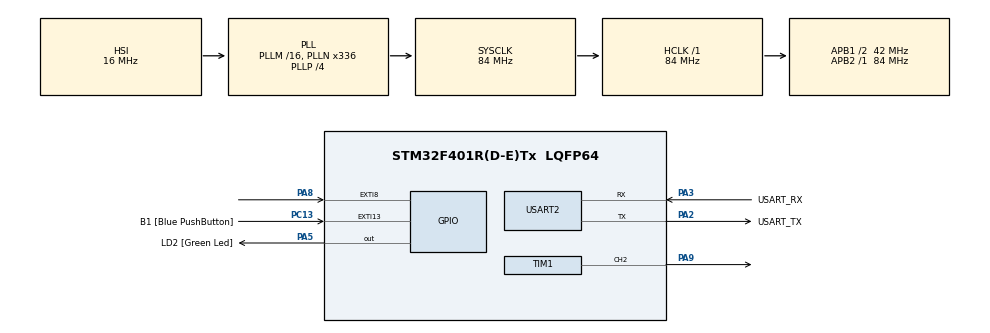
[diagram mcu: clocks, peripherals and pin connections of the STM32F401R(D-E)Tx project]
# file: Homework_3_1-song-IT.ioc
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Mcu.Family=STM32F4
Mcu.Name=STM32F401R(D-E)Tx
Mcu.Package=LQFP64
NVIC.EXTI9_5_IRQn=true\:0\:0\:false\:false\:true\:true\:true\:true
NVIC.PriorityGroup=NVIC_PRIORITYGROUP_1
PA13.GPIO_Label=TMS
PA13.Mode=Serial_Wire
PA13.Signal=SYS_JTMS-SWDIO
PA14.GPIO_Label=TCK
PA14.Mode=Serial_Wire
PA14.Signal=SYS_JTCK-SWCLK
PA2.GPIO_Label=USART_TX
PA2.GPIO_Mode=GPIO_MODE_AF_PP
PA2.GPIO_PuPd=GPIO_NOPULL
PA2.GPIO_Speed=GPIO_SPEED_FREQ_LOW
PA2.Mode=Asynchronous
PA2.Signal=USART2_TX
PA3.GPIO_Label=USART_RX
PA3.GPIO_Mode=GPIO_MODE_AF_PP
PA3.GPIO_PuPd=GPIO_NOPULL
PA3.GPIO_Speed=GPIO_SPEED_FREQ_LOW
PA3.Mode=Asynchronous
PA3.Signal=USART2_RX
PA5.GPIO_Label=LD2 [Green Led]
PA5.GPIO_Mode=GPIO_MODE_OUTPUT_PP
PA5.GPIO_PuPd=GPIO_NOPULL
PA5.GPIO_Speed=GPIO_SPEED_FREQ_LOW
PA5.Signal=GPIO_Output
PA8.GPIO_ModeDefaultEXTI=GPIO_MODE_IT_RISING_FALLING
PA8.Signal=GPXTI8
PA9.Signal=S_TIM1_CH2
PB3.GPIO_Label=SWO
PB3.Signal=SYS_JTDO-SWO
PC13-ANTI_TAMP.GPIO_Label=B1 [Blue PushButton]
PC13-ANTI_TAMP.GPIO_ModeDefaultEXTI=GPIO_MODE_IT_FALLING
PC13-ANTI_TAMP.GPIO_PuPd=GPIO_NOPULL
PC13-ANTI_TAMP.Signal=GPXTI13
PC14-OSC32_IN.Mode=LSE-External-Oscillator
PC14-OSC32_IN.Signal=RCC_OSC32_IN
PC15-OSC32_OUT.Mode=LSE-External-Oscillator
PC15-OSC32_OUT.Signal=RCC_OSC32_OUT
PH0\ -\ OSC_IN.Mode=HSE-External-Clock-Source
PH0\ -\ OSC_IN.Signal=RCC_OSC_IN
PH1\ -\ OSC_OUT.Mode=HSE-External-Clock-Source
PH1\ -\ OSC_OUT.Signal=RCC_OSC_OUT
ProjectManager.HeapSize=0x200
ProjectManager.StackSize=0x400
ProjectManager.TargetToolchain=STM32CubeIDE
RCC.48MHZClocksFreq_Value=48000000
RCC.AHBFreq_Value=84000000
RCC.APB1CLKDivider=RCC_HCLK_DIV2
RCC.APB1Freq_Value=42000000
RCC.APB1TimFreq_Value=84000000
RCC.APB2Freq_Value=84000000
RCC.APB2TimFreq_Value=84000000
RCC.CortexFreq_Value=84000000
RCC.HCLKFreq_Value=84000000
RCC.HSE_VALUE=8000000
RCC.HSI_VALUE=16000000
RCC.PLLN=336
RCC.PLLP=RCC_PLLP_DIV4
RCC.PLLQ=7
RCC.SYSCLKFreq_VALUE=84000000
RCC.SYSCLKSource=RCC_SYSCLKSOURCE_PLLCLK
RCC.VCOOutputFreq_Value=336000000
SH.S_TIM1_CH2.0=TIM1_CH2,PWM Generation2 CH2
TIM1.Channel-PWM\ Generation2\ CH2=TIM_CHANNEL_2
USART2.VirtualMode=VM_ASYNC
VP_TIM1_VS_ClockSourceINT.Mode=Internal
board=NUCLEO-F401RE

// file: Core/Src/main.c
/* USER CODE BEGIN Header */
/**
  ******************************************************************************
  * @file           : main.c
  * @brief          : Main program body
  ******************************************************************************
  * @attention
  *
  * Copyright (c) 2024 STMicroelectronics.
  * All rights reserved.
  *
  * This software is licensed under terms that can be found in the LICENSE file
  * in the root directory of this software component.
  * If no LICENSE file comes with this software, it is provided AS-IS.
  *
  ******************************************************************************
  */
/* USER CODE END Header */
#include "main.h"

/* USER CODE BEGIN PD */
#define DO4 3206
#define DOD4 3032
#define RE4 2857
#define RED4 2700
#define MI4 2545
#define FA4 2406
#define FAD4 2270
#define SOL4 2142
#define SOLD4 2024
#define LA4 1909
#define LAD4 1802
#define SI4 1700

#define BPM 200
#define PRESCALER 100

/* USER CODE END PD */

TIM_HandleTypeDef htim1;

UART_HandleTypeDef huart2;

void SystemClock_Config(void);
static void MX_GPIO_Init(void);
static void MX_USART2_UART_Init(void);
static void MX_TIM1_Init(void);

/* USER CODE BEGIN 0 */

int songPlaying = 0;
typedef struct{
	 int note;
	 int duration;
}NoteStruct;

NoteStruct songNotes[] = {
		{SOL4,3},
		{LA4,1},
		{SOL4,2},
		{FA4,2},
		{MI4,2},
		{FA4,2},
		{SOL4,4},
		{RE4,2},
		{MI4,2},
		{FA4,4},
		{MI4,2},
		{FA4,2},
		{SOL4,2},

		{SOL4,3},
		{LA4,1},
		{SOL4,2},
		{FA4,2},
		{MI4,2},
		{FA4,2},
		{SOL4,4},
		{RE4,4},
		{SOL4,4},
		{MI4,2},
		{DO4,4}

};

static void setupNote(NoteStruct noteStruct)
{
	__HAL_TIM_SET_COUNTER(&htim1,0);
	__HAL_TIM_SET_PRESCALER(&htim1, PRESCALER - 1);
	__HAL_TIM_SET_AUTORELOAD(&htim1, noteStruct.note - 1);
	__HAL_TIM_SET_COMPARE(&htim1,TIM_CHANNEL_2, noteStruct.note /2);
}

void startSong(){
	songPlaying = 1;
	int length= sizeof(songNotes)/sizeof(NoteStruct);
	for (int i=0;i<length;i++){
		setupNote(songNotes[i]);
		HAL_TIM_PWM_Start(&htim1,TIM_CHANNEL_2);
		int note_duration_millies = songNotes[i].duration * (60000/2) / BPM;
		/** BPM in a song indicates the number of Beat-per-minutes, songNotes[i].duration express the Beat-duration of each note .
		 * So if we want to convert songNotes[i].duration from Beat to Milliseconds we need to multiply songNotes[i].duration
		 * by 60000/BPM. 60000/BPM corresponds at the amount of milliseconds that a beat needs to last.
		 * We also need to divide 60000 for 2, this is because in the convention of this project songNotes[i].duration = 1 if
		 * we need to play a Half-Beat note.
		 */
		HAL_Delay(note_duration_millies);
		HAL_TIM_PWM_Stop(&htim1,TIM_CHANNEL_2);
	}

	/**Before declaring the song as "finished" we stop for a while.
	 * In this way the microphone will not be re-triggered by the song itself.
	 */
	HAL_Delay(100);
	__HAL_GPIO_EXTI_CLEAR_IT(GPIO_PIN_8);
	songPlaying = 0;
}

void HAL_GPIO_EXTI_Callback (uint16_t GPIO_Pin)
{
	switch (GPIO_Pin) {
	case GPIO_PIN_8:
		if(songPlaying == 0)
			startSong();

	}
}
/* USER CODE END 0 */

int main(void)
{

  /* MCU Configuration--------------------------------------------------------*/

  /* Reset of all peripherals, Initializes the Flash interface and the Systick. */
  HAL_Init();

  /* Configure the system clock */
  SystemClock_Config();

  /* Initialize all configured peripherals */
  MX_GPIO_Init();
  MX_USART2_UART_Init();
  MX_TIM1_Init();

  /* Infinite loop */
  while (1)
  {

  }
}

void SystemClock_Config(void)
{
  RCC_OscInitTypeDef RCC_OscInitStruct = {0};
  RCC_ClkInitTypeDef RCC_ClkInitStruct = {0};

  /** Configure the main internal regulator output voltage
  */
  __HAL_RCC_PWR_CLK_ENABLE();
  __HAL_PWR_VOLTAGESCALING_CONFIG(PWR_REGULATOR_VOLTAGE_SCALE2);

  /** Initializes the RCC Oscillators according to the specified parameters
  * in the RCC_OscInitTypeDef structure.
  */
  RCC_OscInitStruct.OscillatorType = RCC_OSCILLATORTYPE_HSI;
  RCC_OscInitStruct.HSIState = RCC_HSI_ON;
  RCC_OscInitStruct.HSICalibrationValue = RCC_HSICALIBRATION_DEFAULT;
  RCC_OscInitStruct.PLL.PLLState = RCC_PLL_ON;
  RCC_OscInitStruct.PLL.PLLSource = RCC_PLLSOURCE_HSI;
  RCC_OscInitStruct.PLL.PLLM = 16;
  RCC_OscInitStruct.PLL.PLLN = 336;
  RCC_OscInitStruct.PLL.PLLP = RCC_PLLP_DIV4;
  RCC_OscInitStruct.PLL.PLLQ = 7;
  if (HAL_RCC_OscConfig(&RCC_OscInitStruct) != HAL_OK)
  {
    Error_Handler();
  }

  /** Initializes the CPU, AHB and APB buses clocks
  */
  RCC_ClkInitStruct.ClockType = RCC_CLOCKTYPE_HCLK|RCC_CLOCKTYPE_SYSCLK
                              |RCC_CLOCKTYPE_PCLK1|RCC_CLOCKTYPE_PCLK2;
  RCC_ClkInitStruct.SYSCLKSource = RCC_SYSCLKSOURCE_PLLCLK;
  RCC_ClkInitStruct.AHBCLKDivider = RCC_SYSCLK_DIV1;
  RCC_ClkInitStruct.APB1CLKDivider = RCC_HCLK_DIV2;
  RCC_ClkInitStruct.APB2CLKDivider = RCC_HCLK_DIV1;

  if (HAL_RCC_ClockConfig(&RCC_ClkInitStruct, FLASH_LATENCY_2) != HAL_OK)
  {
    Error_Handler();
  }
}

static void MX_TIM1_Init(void)
{

  TIM_ClockConfigTypeDef sClockSourceConfig = {0};
  TIM_MasterConfigTypeDef sMasterConfig = {0};
  TIM_OC_InitTypeDef sConfigOC = {0};
  TIM_BreakDeadTimeConfigTypeDef sBreakDeadTimeConfig = {0};

  htim1.Instance = TIM1;
  htim1.Init.Prescaler = 0;
  htim1.Init.CounterMode = TIM_COUNTERMODE_UP;
  htim1.Init.Period = 65535;
  htim1.Init.ClockDivision = TIM_CLOCKDIVISION_DIV1;
  htim1.Init.RepetitionCounter = 0;
  htim1.Init.AutoReloadPreload = TIM_AUTORELOAD_PRELOAD_DISABLE;
  if (HAL_TIM_Base_Init(&htim1) != HAL_OK)
  {
    Error_Handler();
  }
  sClockSourceConfig.ClockSource = TIM_CLOCKSOURCE_INTERNAL;
  if (HAL_TIM_ConfigClockSource(&htim1, &sClockSourceConfig) != HAL_OK)
  {
    Error_Handler();
  }
  if (HAL_TIM_PWM_Init(&htim1) != HAL_OK)
  {
    Error_Handler();
  }
  sMasterConfig.MasterOutputTrigger = TIM_TRGO_RESET;
  sMasterConfig.MasterSlaveMode = TIM_MASTERSLAVEMODE_DISABLE;
  if (HAL_TIMEx_MasterConfigSynchronization(&htim1, &sMasterConfig) != HAL_OK)
  {
    Error_Handler();
  }
  sConfigOC.OCMode = TIM_OCMODE_PWM1;
  sConfigOC.Pulse = 0;
  sConfigOC.OCPolarity = TIM_OCPOLARITY_HIGH;
  sConfigOC.OCNPolarity = TIM_OCNPOLARITY_HIGH;
  sConfigOC.OCFastMode = TIM_OCFAST_DISABLE;
  sConfigOC.OCIdleState = TIM_OCIDLESTATE_RESET;
  sConfigOC.OCNIdleState = TIM_OCNIDLESTATE_RESET;
  if (HAL_TIM_PWM_ConfigChannel(&htim1, &sConfigOC, TIM_CHANNEL_2) != HAL_OK)
  {
    Error_Handler();
  }
  sBreakDeadTimeConfig.OffStateRunMode = TIM_OSSR_DISABLE;
  sBreakDeadTimeConfig.OffStateIDLEMode = TIM_OSSI_DISABLE;
  sBreakDeadTimeConfig.LockLevel = TIM_LOCKLEVEL_OFF;
  sBreakDeadTimeConfig.DeadTime = 0;
  sBreakDeadTimeConfig.BreakState = TIM_BREAK_DISABLE;
  sBreakDeadTimeConfig.BreakPolarity = TIM_BREAKPOLARITY_HIGH;
  sBreakDeadTimeConfig.AutomaticOutput = TIM_AUTOMATICOUTPUT_DISABLE;
  if (HAL_TIMEx_ConfigBreakDeadTime(&htim1, &sBreakDeadTimeConfig) != HAL_OK)
  {
    Error_Handler();
  }
  HAL_TIM_MspPostInit(&htim1);

}

static void MX_USART2_UART_Init(void)
{

  huart2.Instance = USART2;
  huart2.Init.BaudRate = 115200;
  huart2.Init.WordLength = UART_WORDLENGTH_8B;
  huart2.Init.StopBits = UART_STOPBITS_1;
  huart2.Init.Parity = UART_PARITY_NONE;
  huart2.Init.Mode = UART_MODE_TX_RX;
  huart2.Init.HwFlowCtl = UART_HWCONTROL_NONE;
  huart2.Init.OverSampling = UART_OVERSAMPLING_16;
  if (HAL_UART_Init(&huart2) != HAL_OK)
  {
    Error_Handler();
  }

}

static void MX_GPIO_Init(void)
{
  GPIO_InitTypeDef GPIO_InitStruct = {0};

  /* GPIO Ports Clock Enable */
  __HAL_RCC_GPIOC_CLK_ENABLE();
  __HAL_RCC_GPIOH_CLK_ENABLE();
  __HAL_RCC_GPIOA_CLK_ENABLE();
  __HAL_RCC_GPIOB_CLK_ENABLE();

  /*Configure GPIO pin Output Level */
  HAL_GPIO_WritePin(LD2_GPIO_Port, LD2_Pin, GPIO_PIN_RESET);

  /*Configure GPIO pin : B1_Pin */
  GPIO_InitStruct.Pin = B1_Pin;
  GPIO_InitStruct.Mode = GPIO_MODE_IT_FALLING;
  GPIO_InitStruct.Pull = GPIO_NOPULL;
  HAL_GPIO_Init(B1_GPIO_Port, &GPIO_InitStruct);

  /*Configure GPIO pin : LD2_Pin */
  GPIO_InitStruct.Pin = LD2_Pin;
  GPIO_InitStruct.Mode = GPIO_MODE_OUTPUT_PP;
  GPIO_InitStruct.Pull = GPIO_NOPULL;
  GPIO_InitStruct.Speed = GPIO_SPEED_FREQ_LOW;
  HAL_GPIO_Init(LD2_GPIO_Port, &GPIO_InitStruct);

  /*Configure GPIO pin : PA8 */
  GPIO_InitStruct.Pin = GPIO_PIN_8;
  GPIO_InitStruct.Mode = GPIO_MODE_IT_RISING_FALLING;
  GPIO_InitStruct.Pull = GPIO_NOPULL;
  HAL_GPIO_Init(GPIOA, &GPIO_InitStruct);

  /* EXTI interrupt init*/
  HAL_NVIC_SetPriority(EXTI9_5_IRQn, 0, 0);
  HAL_NVIC_EnableIRQ(EXTI9_5_IRQn);

}

void Error_Handler(void)
{
  __disable_irq();
  while (1)
  {
  }
}
